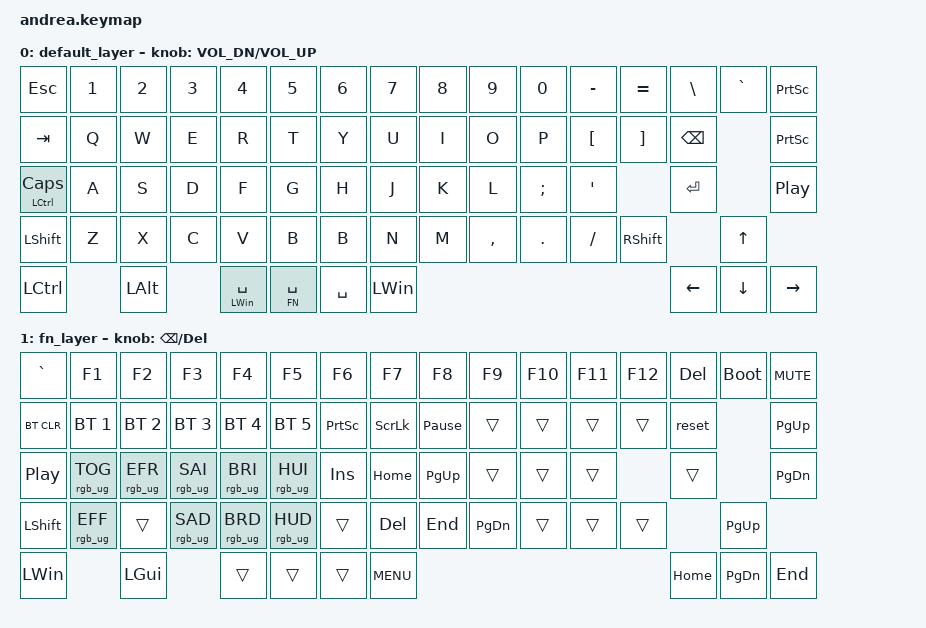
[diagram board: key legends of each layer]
#include <behaviors.dtsi>
#include <dt-bindings/zmk/keys.h>
#include <dt-bindings/zmk/bt.h>
#include <dt-bindings/zmk/outputs.h>
#include <dt-bindings/zmk/rgb.h>
#include <dt-bindings/zmk/ext_power.h>

#define FN 1
&mt {
    retro-tap;
};
/ {
	
	keymap {
		compatible = "zmk,keymap";

		default_layer {
// -----------------------------------------------------------------------------------------
//   | ESC        | 1     | 2     | 3     | 4     | 5     | 6     | 7     | 8     | 9     | 0     | -     | =     | \       | GRAVE | PRSC  |
//   | TAB        | Q     | W     | E     | R     | T     | Y     | U     | I     | O     | P     | [     | ]     | BSPC    |         PRSC  |
// |MT(LCTRL,CAPS)| A     | S     | D     | F     | G     | H     | J     | K     | L     | ;     | '     |         ENTER |           PLAY_PAUSE  |
//   | SHIFT        | Z     | X     | C     | V     | B     | B     | N     | M     | ,     | .     | /     | SHIFT |         UP    |
//   | CTRL       |         ALT   |  SPACE Winkey  |      LT(BSPC, 1)  |  SPACE  | WinKey   |                                LEFT  | DOWN  | RIGHT |

			bindings = <
    &kp ESC          &kp NUM_1        &kp NUM_2     &kp NUM_3     &kp NUM_4     &kp NUM_5        &kp NUM_6        &kp NUM_7        &kp NUM_8        &kp NUM_9        &kp NUM_0        &kp MINUS        &kp EQL          &kp BSLH         &kp GRAV        &kp PSCRN
    &kp TAB          &kp Q            &kp W         &kp E         &kp R         &kp T            &kp Y            &kp U            &kp I            &kp O            &kp P            &kp LBKT         &kp RBKT         &kp BKSP                         &kp PSCRN
    &mt LCTRL CAPS   &kp A            &kp S         &kp D         &kp F         &kp G            &kp H            &kp J            &kp K            &kp L            &kp SCLN         &kp QUOT                          &kp ENTER                        &kp C_PLAY_PAUSE
    &kp LSHFT        &kp Z            &kp X         &kp C         &kp V         &kp B            &kp B            &kp N            &kp M            &kp CMMA         &kp DOT          &kp FSLH         &kp RSHFT                         &kp UP
    &kp LCTRL                         &kp LALT                    &mt LWIN SPACE     &lt FN SPACE     &kp SPACE       &kp LWIN                                                                                              &kp LEFT         &kp DOWN        &kp RIGHT
			>;
			
			sensor-bindings = <&inc_dec_kp C_VOL_DN C_VOL_UP>;
			
		};

		fn_layer {
// -----------------------------------------------------------------------------------------
//   | GRAVE | F1       | F2       | F3     | F4     | F5       | F6    | F7    | F8    | F9    | F10   | F11   | F12   | DEL         | BOOTLOADER | MUTE   |
//   | BT_CLR| BT_SEL 0 |BT_SEL 1| BT_SEL 2 |BT_SEL 3|BT_SEL 4| PSCR  | SCLK  | PAUSE | TRANS | TRANS | TRANS | TRANS | RESET       |                PAGE UP|
//   |TRANS  |RGB_TOG   |  RGB_EFR |RGB_SAI |RGB_BRI | RGB_HUI  | INS   | HOME  | PG_UP | TRANS | TRANS | TRANS |         TRANS       |              PAGE DN|
//   | SHIFT | RGB_EFF  | TRANS    |RGB_SAD |RGB_BRD | RGB_HUD  | TRANS | DEL   | END   | PG_DN | TRANS | TRANS | TRANS |               PG_UP |
//   | TRANS |         GUI   |         TRANS | TRANS    |         TRANS | MENU  |                                            HOME   | PG_DN | END   |

			bindings = <
    &kp GRAVE        &kp F1           &kp F2           &kp F3          &kp F4          &kp F5            &kp F6           &kp F7           &kp F8           &kp F9           &kp F10          &kp F11          &kp F12          &kp DEL     &bootloader         &kp C_MUTE
    &bt BT_CLR       &bt BT_SEL 1     &bt BT_SEL 2     &bt BT_SEL 3    &bt BT_SEL 4    &bt BT_SEL 5      &kp PSCRN        &kp SLCK         &kp PAUSE_BREAK  &trans           &trans           &trans           &trans           &reset                          &kp PG_UP
    &kp C_PLAY_PAUSE &rgb_ug RGB_TOG  &rgb_ug RGB_EFR  &rgb_ug RGB_SAI &rgb_ug RGB_BRI &rgb_ug RGB_HUI   &kp INS          &kp HOME         &kp PG_UP        &trans           &trans           &trans                            &trans                          &kp PG_DN
    &kp LSHFT        &rgb_ug RGB_EFF  &trans           &rgb_ug RGB_SAD &rgb_ug RGB_BRD &rgb_ug RGB_HUD   &trans           &kp DEL          &kp END          &kp PG_DN        &trans           &trans           &trans                       &kp PG_UP
    &kp LWIN                            &kp LGUI                         &trans          &trans        &trans           &kp C_MENU                                                                                            &kp HOME        &kp PG_DN      &kp END        
			>;

			sensor-bindings = <&inc_dec_kp BKSP   DEL>;

		};

	};
};
